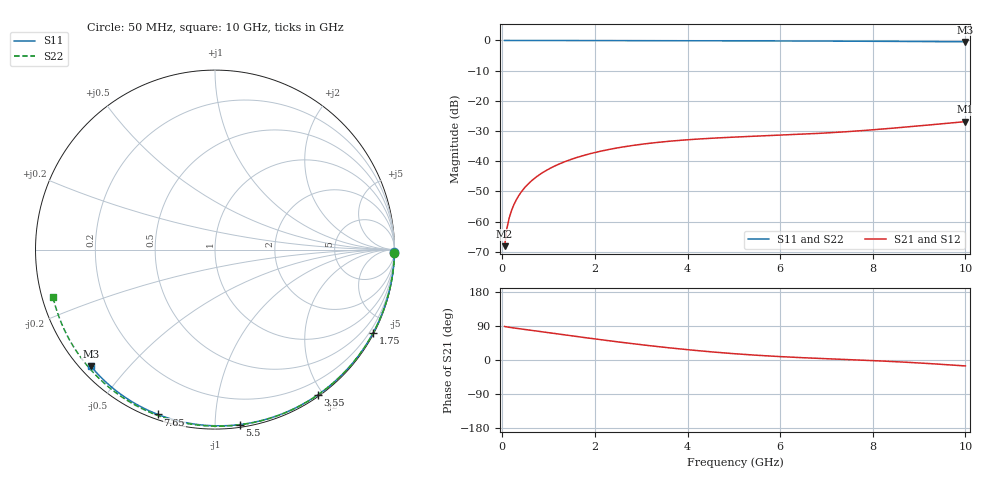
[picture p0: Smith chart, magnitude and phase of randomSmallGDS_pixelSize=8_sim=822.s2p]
! freq	dB(S11)	phase(S11)	dB(S12)	phase(S12)
!  dB(S21)	phase(S21)	dB(S22)	phase(S22)
!S-par simulation data
#  GHz  S  DB  R 50
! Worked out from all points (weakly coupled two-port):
!   200 points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, 50 MHz to 10 GHz, reference 50 ohm
!   highest |S21| = -26.90 dB at 10 GHz (marker M1); lowest = -68.2 dB at 50 MHz (marker M2)
!   lowest |S11| = -0.5 dB at 10 GHz (marker M3), VSWR 37.99, Z = 1.52 - j19.8 ohm
!   |S11| at or under -10 dB: nowhere
!   |S22| runs from -0.5 to 0.0 dB; largest |S21 - S12| = 0
!   S11 on the Smith chart (normalised r, x): 50 MHz: open; 1.75 GHz: 0.04, -4.06; 3.55 GHz: 0.02, -1.93; 5.5 GHz: 0.02, -1.15; 7.65 GHz: 0.02, -0.71; 10 GHz: 0.03, -0.40
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0.05  -0.00 -0.8  -68.17 88.4  -68.17 88.4  -0.00 -1.0
0.1  -0.00 -1.6  -62.23 87.2  -62.23 87.2  -0.00 -2.0
0.15  -0.00 -2.4  -58.78 86.2  -58.78 86.2  -0.00 -2.9
0.2  -0.00 -3.2  -56.33 85.4  -56.33 85.4  -0.00 -3.9
0.25  -0.00 -4.0  -54.43 84.6  -54.43 84.6  -0.00 -4.9
0.35  -0.00 -5.6  -51.56 83.0  -51.56 83.0  -0.01 -6.8
0.5  -0.01 -8.0  -48.51 80.6  -48.51 80.6  -0.01 -9.7
0.7  -0.01 -11.2  -45.64 77.2  -45.64 77.2  -0.02 -13.6
1  -0.02 -16.0  -42.64 72.2  -42.64 72.2  -0.02 -19.3
1.35  -0.03 -21.5  -40.18 66.3  -40.18 66.3  -0.03 -26.0
1.75  -0.04 -27.7  -38.14 59.6  -38.14 59.6  -0.04 -33.5
2.6  -0.05 -40.7  -35.31 46.2  -35.31 46.2  -0.06 -49.1
3.4  -0.07 -52.6  -33.71 34.8  -33.71 34.8  -0.09 -63.2
3.55  -0.07 -54.8  -33.48 32.9  -33.48 32.9  -0.09 -65.8
4.3  -0.09 -65.5  -32.60 23.8  -32.60 23.8  -0.11 -78.4
5.05  -0.12 -75.8  -32.00 16.3  -32.00 16.3  -0.14 -90.5
5.5  -0.13 -81.9  -31.71 12.5  -31.71 12.5  -0.16 -97.6
6.7  -0.19 -97.4  -30.90 4.9  -30.90 4.9  -0.22 -115.8
7.65  -0.25 -109.1  -30.01 0.2  -30.01 0.2  -0.29 -129.7
8.35  -0.30 -117.5  -29.17 -3.6  -29.17 -3.6  -0.35 -139.7
9.2  -0.37 -127.5  -28.03 -9.3  -28.03 -9.3  -0.44 -152.0
10  -0.46 -136.8  -26.90 -15.7  -26.90 -15.7  -0.53 -163.6
